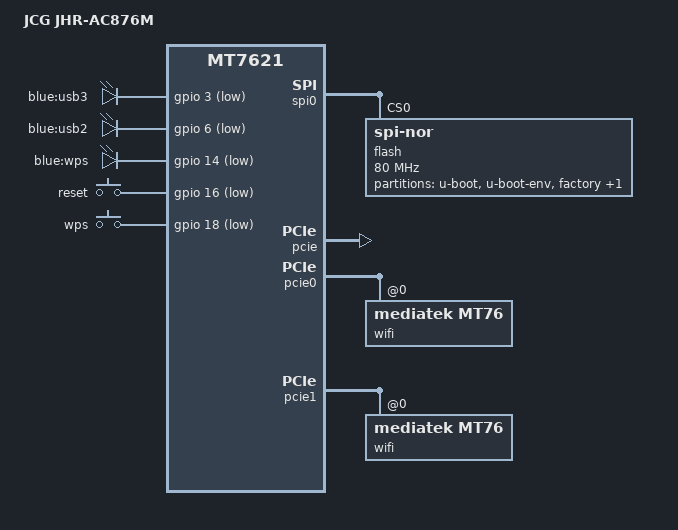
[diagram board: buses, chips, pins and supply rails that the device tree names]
// SPDX-License-Identifier: GPL-2.0-or-later OR MIT

#include "mt7621.dtsi"

#include <dt-bindings/gpio/gpio.h>
#include <dt-bindings/input/input.h>

/ {
	compatible = "jcg,jhr-ac876m", "mediatek,mt7621-soc";
	model = "JCG JHR-AC876M";

	aliases {
		led-boot = &led_wps;
		led-failsafe = &led_wps;
		led-running = &led_wps;
		led-upgrade = &led_wps;
		label-mac-device = &wan;
	};

	leds {
		compatible = "gpio-leds";

		usb3 {
			label = "blue:usb3";
			gpios = <&gpio 3 GPIO_ACTIVE_LOW>;
			trigger-sources = <&xhci_ehci_port1>;
			linux,default-trigger = "usbport";
		};

		usb2 {
			label = "blue:usb2";
			gpios = <&gpio 6 GPIO_ACTIVE_LOW>;
			trigger-sources = <&ehci_port2>;
			linux,default-trigger = "usbport";
		};

		led_wps: wps {
			label = "blue:wps";
			gpios = <&gpio 14 GPIO_ACTIVE_LOW>;
		};
	};

	keys {
		compatible = "gpio-keys";

		reset {
			label = "reset";
			gpios = <&gpio 16 GPIO_ACTIVE_LOW>;
			linux,code = <KEY_RESTART>;
		};

		wps {
			label = "wps";
			gpios = <&gpio 18 GPIO_ACTIVE_LOW>;
			linux,code = <KEY_WPS_BUTTON>;
		};
	};
};

&spi0 {
	status = "okay";

	flash@0 {
		compatible = "jedec,spi-nor";
		reg = <0>;
		spi-max-frequency = <80000000>;
		m25p,fast-read;

		partitions {
			compatible = "fixed-partitions";
			#address-cells = <1>;
			#size-cells = <1>;

			partition@0 {
				label = "u-boot";
				reg = <0x0 0x30000>;
				read-only;
			};

			partition@30000 {
				label = "u-boot-env";
				reg = <0x30000 0x10000>;
				read-only;
			};

			factory: partition@40000 {
				label = "factory";
				reg = <0x40000 0x10000>;
				read-only;
			};

			partition@50000 {
				compatible = "denx,uimage";
				label = "firmware";
				reg = <0x50000 0xfb0000>;
			};
		};
	};
};

&pcie {
	status = "okay";
};

&pcie0 {
	wifi@0,0 {
		compatible = "mediatek,mt76";
		reg = <0x0000 0 0 0 0>;
		mediatek,mtd-eeprom = <&factory 0x0>;
		ieee80211-freq-limit = <2400000 2500000>;

		led {
			led-active-low;
		};
	};
};

&pcie1 {
	wifi@0,0 {
		compatible = "mediatek,mt76";
		reg = <0x0000 0 0 0 0>;
		mediatek,mtd-eeprom = <&factory 0x8000>;
		ieee80211-freq-limit = <5000000 6000000>;

		led {
			led-active-low;
		};
	};
};

&gmac0 {
	mtd-mac-address = <&factory 0xe000>;
};

&switch0 {
	ports {
		port@0 {
			status = "okay";
			label = "lan1";
		};

		port@1 {
			status = "okay";
			label = "lan2";
		};

		port@2 {
			status = "okay";
			label = "lan3";
		};

		port@3 {
			status = "okay";
			label = "lan4";
		};
		wan: port@4 {
			status = "okay";
			label = "wan";
			mtd-mac-address = <&factory 0x4>;
		};
	};
};

&state_default {
	gpio {
		groups = "i2c", "uart3", "jtag", "wdt";
		function = "gpio";
	};
};
